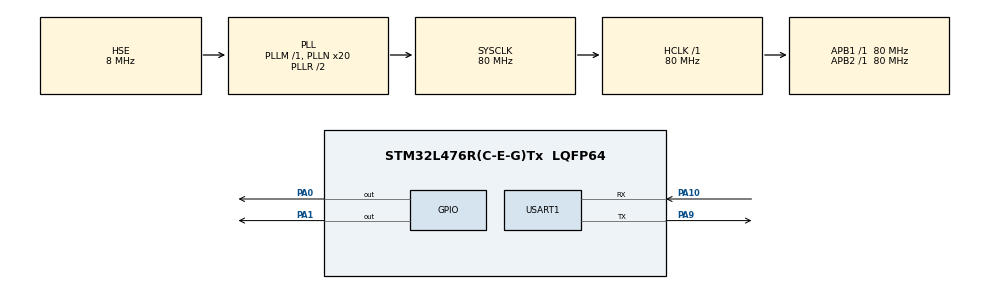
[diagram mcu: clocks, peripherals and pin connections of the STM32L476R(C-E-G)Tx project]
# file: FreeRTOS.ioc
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FREERTOS.Tasks01=defaultTask,0,128,StartDefaultTask,Default,NULL,Dynamic,NULL,NULL;Task02,0,128,StartTask02,Default,NULL,Dynamic,NULL,NULL
Mcu.Family=STM32L4
Mcu.Name=STM32L476R(C-E-G)Tx
Mcu.Package=LQFP64
NVIC.PriorityGroup=NVIC_PRIORITYGROUP_4
NVIC.TIM1_UP_TIM16_IRQn=true\:15\:0\:false\:false\:true\:false\:false\:true\:true
NVIC.TimeBase=TIM1_UP_TIM16_IRQn
NVIC.TimeBaseIP=TIM1
NVIC.USART1_IRQn=true\:5\:0\:false\:false\:true\:true\:true\:true\:true
PA0.Signal=GPIO_Output
PA1.Signal=GPIO_Output
PA10.Mode=Asynchronous
PA10.Signal=USART1_RX
PA9.Mode=Asynchronous
PA9.Signal=USART1_TX
PH0-OSC_IN\ (PH0).Mode=HSE-External-Oscillator
PH0-OSC_IN\ (PH0).Signal=RCC_OSC_IN
PH1-OSC_OUT\ (PH1).Mode=HSE-External-Oscillator
PH1-OSC_OUT\ (PH1).Signal=RCC_OSC_OUT
ProjectManager.HeapSize=0x200
ProjectManager.StackSize=0x400
ProjectManager.TargetToolchain=STM32CubeIDE
RCC.ADCFreq_Value=32000000
RCC.AHBFreq_Value=80000000
RCC.APB1Freq_Value=80000000
RCC.APB1TimFreq_Value=80000000
RCC.APB2Freq_Value=80000000
RCC.APB2TimFreq_Value=80000000
RCC.CortexFreq_Value=80000000
RCC.HCLKFreq_Value=80000000
RCC.HSE_VALUE=8000000
RCC.HSI_VALUE=16000000
RCC.LSE_VALUE=32768
RCC.MSI_VALUE=4000000
RCC.PLLN=20
RCC.PLLSourceVirtual=RCC_PLLSOURCE_HSE
RCC.SYSCLKFreq_VALUE=80000000
RCC.SYSCLKSource=RCC_SYSCLKSOURCE_PLLCLK
RCC.USBFreq_Value=32000000
RCC.VCOOutputFreq_Value=160000000
USART1.VirtualMode-Asynchronous=VM_ASYNC
VP_FREERTOS_VS_CMSIS_V1.Mode=CMSIS_V1
VP_SYS_VS_tim1.Mode=TIM1
board=custom

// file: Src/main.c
/* USER CODE BEGIN Header */
/**
  ******************************************************************************
  * @file           : main.c
  * @brief          : Main program body
  ******************************************************************************
  * @attention
  *
  * Copyright (c) 2025 STMicroelectronics.
  * All rights reserved.
  *
  * This software is licensed under terms that can be found in the LICENSE file
  * in the root directory of this software component.
  * If no LICENSE file comes with this software, it is provided AS-IS.
  *
  ******************************************************************************
  */
/* USER CODE END Header */
#include "main.h"
#include "cmsis_os.h"
#include <string.h>

/* USER CODE BEGIN PTD */
uint8_t ECU1_flag;   // if it's an 8-bit flag
extern uint8_t RxData[8];
extern uint8_t ECU1_data[8];
/* USER CODE END PTD */

UART_HandleTypeDef huart1;

osThreadId defaultTaskHandle;
osThreadId Task02Handle;
/* USER CODE BEGIN PV */
osThreadId Task03Handle;
/* USER CODE END PV */

void SystemClock_Config(void);
static void MX_GPIO_Init(void);
static void MX_USART1_UART_Init(void);
void StartDefaultTask(void const * argument);
void StartTask02(void const * argument);

/* USER CODE BEGIN PFP */
void Task3_init(void const * argument);
void send_deftask3 (void);
void send_deftask1 (void);
void send_deftask (void);
/* USER CODE END PFP */

/* USER CODE BEGIN 0 */

void send_deftask (void)
{
	uint8_t data[] ="1sec";
	HAL_UART_Transmit(&huart1, data, sizeof(data), 50);

}
void send_deftask1 (void)
{
	uint8_t data1[] ="5sec";
	HAL_UART_Transmit(&huart1, data1, sizeof(data1), 50);

}
void send_deftask3 (void)
{
	uint8_t data2[] ="8sec";
	HAL_UART_Transmit(&huart1, data2, sizeof(data2), 50);
}

/* USER CODE END 0 */

int main(void)
{

  /* MCU Configuration--------------------------------------------------------*/

  /* Reset of all peripherals, Initializes the Flash interface and the Systick. */
  HAL_Init();

  /* Configure the system clock */
  SystemClock_Config();

  /* Initialize all configured peripherals */
  MX_GPIO_Init();
  MX_USART1_UART_Init();
  /* USER CODE BEGIN 2 */

  HAL_UART_Receive_IT(&huart1, RxData, sizeof(RxData)); // receive data
  /* USER CODE END 2 */

  /* Create the thread(s) */
  /* definition and creation of defaultTask */
  osThreadDef(defaultTask, StartDefaultTask, osPriorityNormal, 0, 128);
  defaultTaskHandle = osThreadCreate(osThread(defaultTask), NULL);

  /* definition and creation of Task02 */
  osThreadDef(Task02, StartTask02, osPriorityNormal, 0, 128);
  Task02Handle = osThreadCreate(osThread(Task02), NULL);

  /* USER CODE BEGIN RTOS_THREADS */
  // define thread
     osThreadDef(Task3, Task3_init, osPriorityBelowNormal, 0, 128);
     //create thread
     Task03Handle = osThreadCreate(osThread(Task3), NULL);

  /* add threads, ... */
  /* USER CODE END RTOS_THREADS */

  /* Start scheduler */
  osKernelStart();

  /* We should never get here as control is now taken by the scheduler */
  /* Infinite loop */
  while (1)
  {

    /* USER CODE BEGIN 3 */
	//  send_deftask();
  }
  /* USER CODE END 3 */
}

void SystemClock_Config(void)
{
  RCC_OscInitTypeDef RCC_OscInitStruct = {0};
  RCC_ClkInitTypeDef RCC_ClkInitStruct = {0};

  /** Configure the main internal regulator output voltage
  */
  if (HAL_PWREx_ControlVoltageScaling(PWR_REGULATOR_VOLTAGE_SCALE1) != HAL_OK)
  {
    Error_Handler();
  }

  /** Initializes the RCC Oscillators according to the specified parameters
  * in the RCC_OscInitTypeDef structure.
  */
  RCC_OscInitStruct.OscillatorType = RCC_OSCILLATORTYPE_HSE;
  RCC_OscInitStruct.HSEState = RCC_HSE_ON;
  RCC_OscInitStruct.PLL.PLLState = RCC_PLL_ON;
  RCC_OscInitStruct.PLL.PLLSource = RCC_PLLSOURCE_HSE;
  RCC_OscInitStruct.PLL.PLLM = 1;
  RCC_OscInitStruct.PLL.PLLN = 20;
  RCC_OscInitStruct.PLL.PLLP = RCC_PLLP_DIV7;
  RCC_OscInitStruct.PLL.PLLQ = RCC_PLLQ_DIV2;
  RCC_OscInitStruct.PLL.PLLR = RCC_PLLR_DIV2;
  if (HAL_RCC_OscConfig(&RCC_OscInitStruct) != HAL_OK)
  {
    Error_Handler();
  }

  /** Initializes the CPU, AHB and APB buses clocks
  */
  RCC_ClkInitStruct.ClockType = RCC_CLOCKTYPE_HCLK|RCC_CLOCKTYPE_SYSCLK
                              |RCC_CLOCKTYPE_PCLK1|RCC_CLOCKTYPE_PCLK2;
  RCC_ClkInitStruct.SYSCLKSource = RCC_SYSCLKSOURCE_PLLCLK;
  RCC_ClkInitStruct.AHBCLKDivider = RCC_SYSCLK_DIV1;
  RCC_ClkInitStruct.APB1CLKDivider = RCC_HCLK_DIV1;
  RCC_ClkInitStruct.APB2CLKDivider = RCC_HCLK_DIV1;

  if (HAL_RCC_ClockConfig(&RCC_ClkInitStruct, FLASH_LATENCY_4) != HAL_OK)
  {
    Error_Handler();
  }
}

static void MX_USART1_UART_Init(void)
{

  huart1.Instance = USART1;
  huart1.Init.BaudRate = 115200;
  huart1.Init.WordLength = UART_WORDLENGTH_8B;
  huart1.Init.StopBits = UART_STOPBITS_1;
  huart1.Init.Parity = UART_PARITY_NONE;
  huart1.Init.Mode = UART_MODE_TX_RX;
  huart1.Init.HwFlowCtl = UART_HWCONTROL_NONE;
  huart1.Init.OverSampling = UART_OVERSAMPLING_16;
  huart1.Init.OneBitSampling = UART_ONE_BIT_SAMPLE_DISABLE;
  huart1.AdvancedInit.AdvFeatureInit = UART_ADVFEATURE_NO_INIT;
  if (HAL_UART_Init(&huart1) != HAL_OK)
  {
    Error_Handler();
  }

}

static void MX_GPIO_Init(void)
{
  GPIO_InitTypeDef GPIO_InitStruct = {0};

  /* GPIO Ports Clock Enable */
  __HAL_RCC_GPIOH_CLK_ENABLE();
  __HAL_RCC_GPIOA_CLK_ENABLE();

  /*Configure GPIO pin Output Level */
  HAL_GPIO_WritePin(GPIOA, GPIO_PIN_0|GPIO_PIN_1, GPIO_PIN_RESET);

  /*Configure GPIO pins : PA0 PA1 */
  GPIO_InitStruct.Pin = GPIO_PIN_0|GPIO_PIN_1;
  GPIO_InitStruct.Mode = GPIO_MODE_OUTPUT_PP;
  GPIO_InitStruct.Pull = GPIO_NOPULL;
  GPIO_InitStruct.Speed = GPIO_SPEED_FREQ_LOW;
  HAL_GPIO_Init(GPIOA, &GPIO_InitStruct);

}

void StartDefaultTask(void const * argument)
{
  /* USER CODE BEGIN 5 */
  /* Infinite loop */
  for(;;)
  {
	  HAL_GPIO_TogglePin(GPIOA, GPIO_PIN_0);
	  if(ECU1_flag == 1)
	  {
		  ECU1_flag =0;
		  HAL_UART_Transmit(&huart1, ECU1_data, sizeof(ECU1_data), 50);

	  //send_deftask();
	  memset(ECU1_data, 0, sizeof(ECU1_data));
	  }
    osDelay(1000);
  }
  /* USER CODE END 5 */
}

void StartTask02(void const * argument)
{
  /* USER CODE BEGIN StartTask02 */
  /* Infinite loop */
  for(;;)
  {

	  HAL_GPIO_TogglePin(GPIOA, GPIO_PIN_1);
	  send_deftask1();
    osDelay(2000);
  }
  /* USER CODE END StartTask02 */
}

void Task3_init(void const * argument)
{
  /* USER CODE BEGIN StartTask02 */
  /* Infinite loop */
  for(;;)
  {

	 // HAL_GPIO_TogglePin(GPIOA, GPIO_PIN_1);

	  send_deftask3();
    osDelay(3000);
  }
  /* USER CODE END StartTask02 */
}

void HAL_TIM_PeriodElapsedCallback(TIM_HandleTypeDef *htim)
{
  if (htim->Instance == TIM1) {
    HAL_IncTick();
  }
}

void Error_Handler(void)
{
  __disable_irq();
  while (1)
  {
  }
}
